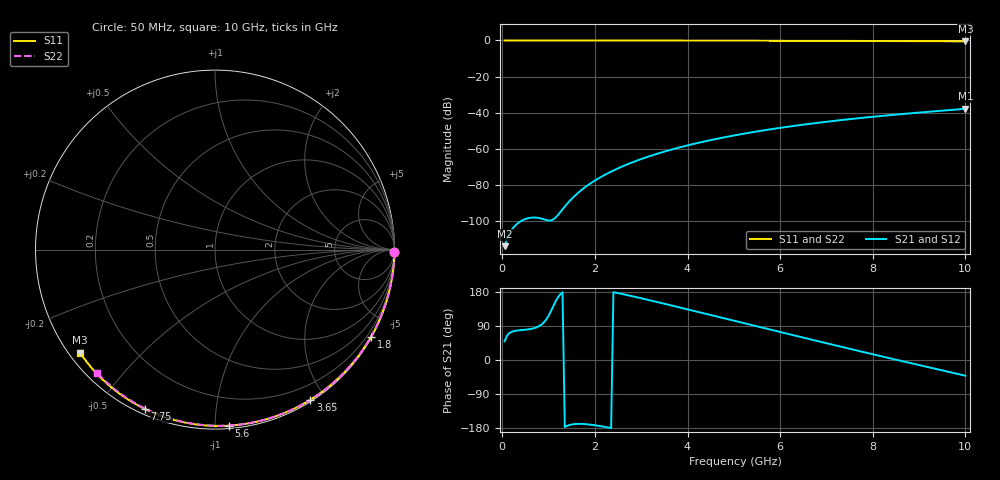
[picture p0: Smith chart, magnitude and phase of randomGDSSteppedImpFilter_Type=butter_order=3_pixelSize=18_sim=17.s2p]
! freq	dB(S11)	phase(S11)	dB(S12)	phase(S12)
!  dB(S21)	phase(S21)	dB(S22)	phase(S22)
!S-par simulation data
#  GHz  S  DB  R 50
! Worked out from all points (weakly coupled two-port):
!   200 points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, 50 MHz to 10 GHz, reference 50 ohm
!   highest |S21| = -37.76 dB at 10 GHz (marker M1); lowest = -113.7 dB at 50 MHz (marker M2)
!   lowest |S11| = -0.5 dB at 10 GHz (marker M3), VSWR 35.98, Z = 1.55 - j16.9 ohm
!   |S11| at or under -10 dB: nowhere
!   |S22| runs from -0.4 to 0.0 dB; largest |S21 - S12| = 0
!   S11 on the Smith chart (normalised r, x): 50 MHz: open; 1.8 GHz: 0.03, -3.85; 3.65 GHz: 0.02, -1.82; 5.6 GHz: 0.02, -1.08; 7.75 GHz: 0.02, -0.65; 10 GHz: 0.03, -0.34
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0.05  -0.00 -0.8  -113.72 49.3  -113.72 49.3  -0.00 -0.8
0.45  -0.01 -7.4  -99.21 79.4  -99.21 79.4  -0.01 -7.0
0.9  -0.02 -14.7  -98.90 99.6  -98.90 99.6  -0.02 -13.8
1.75  -0.04 -28.3  -81.84 -168.9  -81.84 -168.9  -0.03 -26.7
1.8  -0.04 -29.1  -80.88 -169.3  -80.88 -169.3  -0.03 -27.4
1.85  -0.04 -29.9  -79.96 -169.9  -79.96 -169.9  -0.04 -28.2
2  -0.04 -32.3  -77.42 -172.2  -77.42 -172.2  -0.04 -30.4
2.15  -0.04 -34.6  -75.17 -175.1  -75.17 -175.1  -0.04 -32.6
2.35  -0.05 -37.8  -72.48 -179.7  -72.48 -179.7  -0.05 -35.6
2.55  -0.05 -40.9  -70.09 175.2  -70.09 175.2  -0.05 -38.5
2.95  -0.06 -47.0  -66.01 164.3  -66.01 164.3  -0.06 -44.3
3.4  -0.07 -53.8  -62.19 151.4  -62.19 151.4  -0.07 -50.8
3.65  -0.08 -57.6  -60.34 144.0  -60.34 144.0  -0.07 -54.3
4.3  -0.10 -67.1  -56.19 124.6  -56.19 124.6  -0.09 -63.3
5.05  -0.12 -77.8  -52.30 102.2  -52.30 102.2  -0.11 -73.4
5.6  -0.14 -85.4  -49.88 85.7  -49.88 85.7  -0.13 -80.6
6.15  -0.16 -92.8  -47.76 69.4  -47.76 69.4  -0.16 -87.7
6.7  -0.19 -100.1  -45.88 53.1  -45.88 53.1  -0.18 -94.6
7.75  -0.26 -113.7  -42.83 22.3  -42.83 22.3  -0.25 -107.3
8.35  -0.31 -121.3  -41.34 5.1  -41.34 5.1  -0.29 -114.4
9.2  -0.39 -132.2  -39.43 -19.0  -39.43 -19.0  -0.36 -124.4
10  -0.48 -142.6  -37.76 -41.5  -37.76 -41.5  -0.45 -133.6
